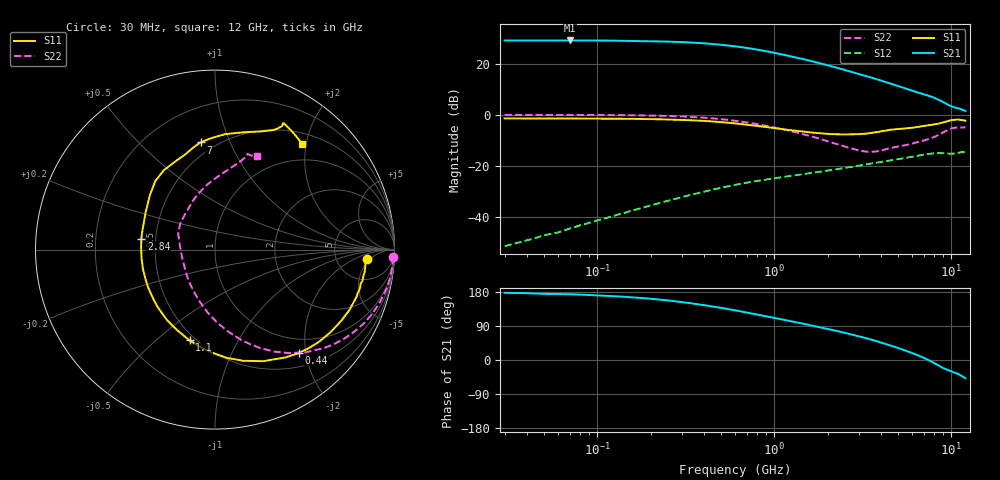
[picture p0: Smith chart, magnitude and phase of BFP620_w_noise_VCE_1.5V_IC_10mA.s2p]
! Infineon Technologies  Discrete & RF Semiconductors
! BFP620
! VCE =  1.5 V,  IC =  10 mA
! Common Emitter S-Parameters:  Nov 2015
# GHz  S  MA  R  50
!  f  S11  S21  S12  S22
! GHz  MAG  ANG  MAG  ANG  MAG  ANG  MAG  ANG
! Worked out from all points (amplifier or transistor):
!   239 points, 30 MHz to 12 GHz, reference 50 ohm
!   highest |S21| = 29.0 dB at 70 MHz (marker M1)
!   |S21| within 3 dB of that: start of sweep to 711.3 MHz
!   unconditionally stable (mu >= 1): 4.183 GHz to end of sweep
!   at 300 MHz: K = 0.14, MSG = 30.3 dB, |S12| = -32.2 dB
!   at 1.88 GHz: K = 0.72, MSG = 21.0 dB, |S12| = -22.1 dB
!   at 12 GHz: K = 1.14, MAG = 5.8 dB, |S12| = -14.6 dB
!   lowest NFmin = 0.73 dB at 450 MHz
!   S11 on the Smith chart (normalised r, x): 30 MHz: 11, -4; 440 MHz: 0.74, -1.88; 1.1 GHz: 0.46, -0.65; 2.84 GHz: 0.42, +0.06; 7 GHz: 0.42, +0.78; 12 GHz: 0.68, +1.92
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0.03  0.8459 -3.5  28.08 177.2  0.0027 86.9  0.9919 -2.5
0.04  0.8419 -4.8  28.2 176.4  0.0035 87.1  0.9922 -3.4
0.05  0.8424 -6.0  28.17 174.5  0.0044 84.7  0.9926 -4.3
0.07  0.8429 -8.5  28.21 173.6  0.006 84.5  0.9916 -6.2
0.085  0.84 -10.3  28.09 172.0  0.0073 84.7  0.9902 -7.6
0.15  0.832 -18.1  27.76 166.2  0.0128 81.2  0.9781 -13.5
0.195  0.8223 -23.3  27.35 162.2  0.0164 78.4  0.9646 -17.5
0.24  0.8092 -28.6  26.88 158.1  0.02 75.9  0.9489 -21.5
0.32  0.7841 -37.8  25.94 151.3  0.0259 71.5  0.9142 -28.2
0.44  0.7412 -50.8  24.19 141.9  0.0339 65.7  0.8522 -37.6
0.6  0.6774 -66.6  21.68 131.0  0.0426 59.1  0.763 -48.6
0.7  0.6393 -75.7  20.14 125.0  0.047 55.6  0.7066 -54.7
0.8  0.6062 -83.9  18.68 119.8  0.0508 52.8  0.6548 -60.1
1.1  0.525 -105.7  15.11 107.0  0.0601 46.7  0.5259 -73.6
1.38  0.478 -122.8  12.72 97.9  0.0672 43.0  0.4365 -84.1
1.64  0.4474 -137.2  11.02 90.7  0.0731 40.3  0.3724 -93.4
2  0.4225 -155.1  9.248 81.9  0.0809 37.1  0.303 -106.2
2.84  0.4147 171.8  6.624 65.2  0.0979 30.8  0.2109 -138.5
4.5  0.5067 131.0  4.077 38.6  0.1275 17.5  0.2238 156.4
7  0.6026 97.7  2.51 5.6  0.1661 -3.2  0.3137 109.6
9  0.7066 68.7  1.764 -21.4  0.1777 -24.0  0.4512 80.7
12  0.7641 50.6  1.179 -48.0  0.1858 -43.5  0.5685 65.9
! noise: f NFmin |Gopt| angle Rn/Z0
0.45  0.73  0.26  1  0.11
0.9  0.73  0.2  6  0.11
1.9  0.76  0.09  22  0.11
2.4  0.81  0.04  39  0.11
3.5  0.86  0.02  -174  0.12
5.5  1.18  0.09  -129  0.13
10  1.69  0.59  -52  0.71
